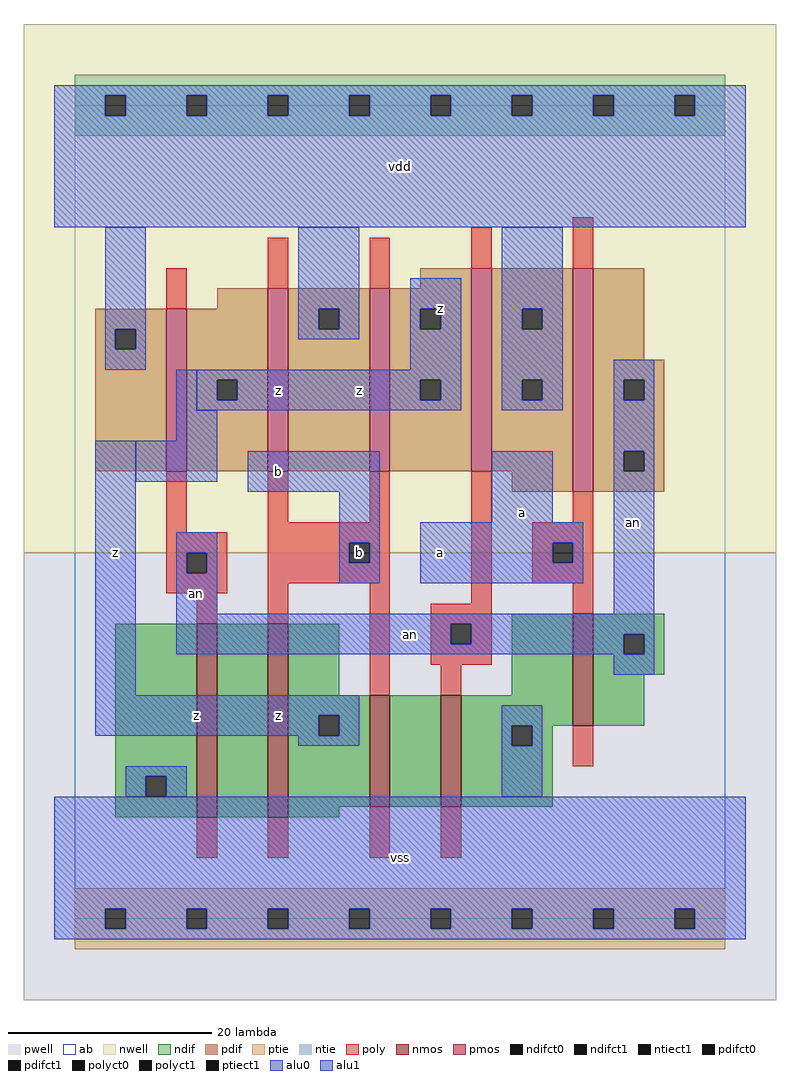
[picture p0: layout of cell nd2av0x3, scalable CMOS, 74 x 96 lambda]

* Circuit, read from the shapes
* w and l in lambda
.subckt nd2av0x3 a an b vdd vss z
M1 n1 an vss vss nfet w=19 l=2
M2 z b n1 vss nfet w=19 l=2
M3 n2 b z vss nfet w=11 l=2
M4 vss an n2 vss nfet w=11 l=2
M5 an a vss vss nfet w=11 l=2
M6 z an vdd vdd pfet w=16 l=2
M7 vdd b z vdd pfet w=18 l=2 m=2
M8 vdd an z vdd pfet w=20 l=2
M9 an a vdd vdd pfet w=22 l=2
.ends

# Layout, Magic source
magic
tech scmos
<< ab >>
rect 0 0 64 80
<< nwell >>
rect -5 36 69 88
<< pwell >>
rect -5 -8 69 36
<< poly >>
rect 9 60 11 64
rect 19 62 21 67
rect 29 62 31 67
rect 39 64 41 68
rect 49 64 51 69
rect 9 38 11 44
rect 19 39 21 44
rect 29 39 31 44
rect 9 36 15 38
rect 9 34 11 36
rect 13 34 15 36
rect 9 32 15 34
rect 19 37 31 39
rect 19 35 27 37
rect 29 35 31 37
rect 19 33 31 35
rect 12 29 14 32
rect 19 29 21 33
rect 29 22 31 33
rect 39 31 41 44
rect 49 39 51 42
rect 45 37 51 39
rect 45 35 47 37
rect 49 35 51 37
rect 45 33 51 35
rect 35 29 41 31
rect 49 30 51 33
rect 35 27 37 29
rect 39 27 41 29
rect 35 25 41 27
rect 36 22 38 25
rect 49 15 51 19
rect 12 6 14 10
rect 19 6 21 10
rect 29 6 31 11
rect 36 6 38 11
<< ndif >>
rect 4 14 12 29
rect 4 12 7 14
rect 9 12 12 14
rect 4 10 12 12
rect 14 10 19 29
rect 21 22 26 29
rect 43 22 49 30
rect 21 20 29 22
rect 21 18 24 20
rect 26 18 29 20
rect 21 11 29 18
rect 31 11 36 22
rect 38 19 49 22
rect 51 28 58 30
rect 51 26 54 28
rect 56 26 58 28
rect 51 24 58 26
rect 51 19 56 24
rect 38 17 43 19
rect 45 17 47 19
rect 38 11 47 17
rect 21 10 26 11
<< pdif >>
rect 34 62 39 64
rect 14 60 19 62
rect 2 58 9 60
rect 2 56 4 58
rect 6 56 9 58
rect 2 44 9 56
rect 11 53 19 60
rect 11 51 14 53
rect 16 51 19 53
rect 11 44 19 51
rect 21 60 29 62
rect 21 58 24 60
rect 26 58 29 60
rect 21 44 29 58
rect 31 60 39 62
rect 31 58 34 60
rect 36 58 39 60
rect 31 53 39 58
rect 31 51 34 53
rect 36 51 39 53
rect 31 44 39 51
rect 41 60 49 64
rect 41 58 44 60
rect 46 58 49 60
rect 41 53 49 58
rect 41 51 44 53
rect 46 51 49 53
rect 41 44 49 51
rect 43 42 49 44
rect 51 55 56 64
rect 51 53 58 55
rect 51 51 54 53
rect 56 51 58 53
rect 51 46 58 51
rect 51 44 54 46
rect 56 44 58 46
rect 51 42 58 44
<< alu1 >>
rect -2 81 66 82
rect -2 79 3 81
rect 5 79 11 81
rect 13 79 19 81
rect 21 79 27 81
rect 29 79 35 81
rect 37 79 43 81
rect 45 79 51 81
rect 53 79 59 81
rect 61 79 66 81
rect -2 68 66 79
rect 33 60 38 63
rect 33 58 34 60
rect 36 58 38 60
rect 33 54 38 58
rect 12 53 38 54
rect 12 51 14 53
rect 16 51 34 53
rect 36 51 38 53
rect 12 50 38 51
rect 2 22 6 47
rect 17 42 30 46
rect 26 37 30 42
rect 41 39 47 46
rect 26 35 27 37
rect 29 35 30 37
rect 26 33 30 35
rect 34 37 50 39
rect 34 35 47 37
rect 49 35 50 37
rect 34 33 50 35
rect 2 20 28 22
rect 2 18 24 20
rect 26 18 28 20
rect 22 17 28 18
rect -2 1 66 12
rect -2 -1 3 1
rect 5 -1 11 1
rect 13 -1 19 1
rect 21 -1 27 1
rect 29 -1 35 1
rect 37 -1 43 1
rect 45 -1 51 1
rect 53 -1 59 1
rect 61 -1 66 1
rect -2 -2 66 -1
<< ptie >>
rect 0 1 64 3
rect 0 -1 3 1
rect 5 -1 11 1
rect 13 -1 19 1
rect 21 -1 27 1
rect 29 -1 35 1
rect 37 -1 43 1
rect 45 -1 51 1
rect 53 -1 59 1
rect 61 -1 64 1
rect 0 -3 64 -1
<< ntie >>
rect 0 81 64 83
rect 0 79 3 81
rect 5 79 11 81
rect 13 79 19 81
rect 21 79 27 81
rect 29 79 35 81
rect 37 79 43 81
rect 45 79 51 81
rect 53 79 59 81
rect 61 79 64 81
rect 0 77 64 79
<< nmos >>
rect 12 10 14 29
rect 19 10 21 29
rect 29 11 31 22
rect 36 11 38 22
rect 49 19 51 30
<< pmos >>
rect 9 44 11 60
rect 19 44 21 62
rect 29 44 31 62
rect 39 44 41 64
rect 49 42 51 64
<< polyct0 >>
rect 11 34 13 36
rect 37 27 39 29
<< polyct1 >>
rect 27 35 29 37
rect 47 35 49 37
<< ndifct0 >>
rect 7 12 9 14
rect 54 26 56 28
rect 43 17 45 19
<< ndifct1 >>
rect 24 18 26 20
<< ntiect1 >>
rect 3 79 5 81
rect 11 79 13 81
rect 19 79 21 81
rect 27 79 29 81
rect 35 79 37 81
rect 43 79 45 81
rect 51 79 53 81
rect 59 79 61 81
<< ptiect1 >>
rect 3 -1 5 1
rect 11 -1 13 1
rect 19 -1 21 1
rect 27 -1 29 1
rect 35 -1 37 1
rect 43 -1 45 1
rect 51 -1 53 1
rect 59 -1 61 1
<< pdifct0 >>
rect 4 56 6 58
rect 24 58 26 60
rect 44 58 46 60
rect 44 51 46 53
rect 54 51 56 53
rect 54 44 56 46
<< pdifct1 >>
rect 14 51 16 53
rect 34 58 36 60
rect 34 51 36 53
<< alu0 >>
rect 3 58 7 68
rect 3 56 4 58
rect 6 56 7 58
rect 22 60 28 68
rect 22 58 24 60
rect 26 58 28 60
rect 22 57 28 58
rect 3 54 7 56
rect 10 50 12 54
rect 42 60 48 68
rect 42 58 44 60
rect 46 58 48 60
rect 42 53 48 58
rect 42 51 44 53
rect 46 51 48 53
rect 42 50 48 51
rect 53 53 57 55
rect 53 51 54 53
rect 56 51 57 53
rect 10 47 14 50
rect 6 43 14 47
rect 53 46 57 51
rect 10 36 14 38
rect 10 34 11 36
rect 13 34 14 36
rect 10 30 14 34
rect 53 44 54 46
rect 56 44 57 46
rect 53 30 57 44
rect 10 29 57 30
rect 10 27 37 29
rect 39 28 57 29
rect 39 27 54 28
rect 10 26 54 27
rect 56 26 57 28
rect 53 24 57 26
rect 42 19 46 21
rect 42 17 43 19
rect 45 17 46 19
rect 5 14 11 15
rect 5 12 7 14
rect 9 12 11 14
rect 42 12 46 17
<< labels >>
rlabel alu0 12 32 12 32 6 an
rlabel alu0 33 28 33 28 6 an
rlabel alu0 55 39 55 39 6 an
rlabel alu1 12 20 12 20 6 z
rlabel alu1 4 36 4 36 6 z
rlabel alu1 20 20 20 20 6 z
rlabel polyct1 28 36 28 36 6 b
rlabel alu1 20 44 20 44 6 b
rlabel alu1 20 52 20 52 6 z
rlabel alu1 28 52 28 52 6 z
rlabel alu1 32 6 32 6 6 vss
rlabel alu1 36 36 36 36 6 a
rlabel alu1 44 40 44 40 6 a
rlabel alu1 36 60 36 60 6 z
rlabel alu1 32 74 32 74 6 vdd
<< end >>
